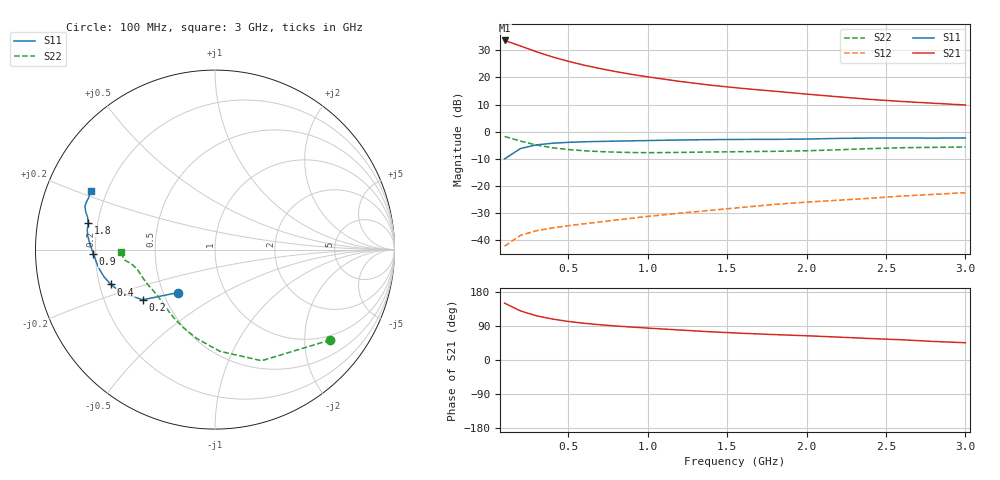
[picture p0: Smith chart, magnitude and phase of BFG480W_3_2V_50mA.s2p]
! Filename: 3_250BFG480.001
! Title: BFG480W
! Bias: Vce=3.2V; Ic=50mA
! Company: Philips Semiconductors NL
! User: Quality&Reliability T&D
! Measure time: 10 Nov 1999 / 11:56:58
#  MHz  S  MA  R 50
! Freq  S11  S21  S12  S22  :
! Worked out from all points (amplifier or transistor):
!   20 points, 100 MHz to 3 GHz, reference 50 ohm
!   highest |S21| = 33.6 dB at 100 MHz (marker M1)
!   |S21| within 3 dB of that: start of sweep to 245.4 MHz
!   unconditionally stable (mu >= 1): 956.3 MHz to end of sweep
!   at 400 MHz: K = 0.64, MSG = 31.5 dB, |S12| = -35.5 dB
!   at 1.2 GHz: K = 1.05, MAG = 22.9 dB, |S12| = -30.0 dB
!   at 3 GHz: K = 1.07, MAG = 14.6 dB, |S12| = -22.5 dB
!   S11 on the Smith chart (normalised r, x): 100 MHz: 0.60, -0.32; 200 MHz: 0.37, -0.27; 400 MHz: 0.25, -0.15; 900 MHz: 0.19, -0.02; 1.8 GHz: 0.16, +0.10; 3 GHz: 0.14, +0.22
100  0.3155 -130.7  47.83 149.9  0.00779 68.1  0.8162 -38.1
200  0.49 -145.2  37.83 129.5  0.01233 56.8  0.6714 -67.2
300  0.5709 -155.0  29.64 116.7  0.015 52.9  0.5671 -87.3
400  0.6122 -161.5  23.84 108.1  0.01685 52.7  0.5055 -101.6
500  0.6364 -166.2  19.78 101.8  0.01852 53.8  0.4685 -112.3
600  0.6513 -169.9  16.78 96.9  0.02012 55.5  0.4454 -120.5
700  0.6615 -172.9  14.54 93.0  0.02179 57.6  0.4299 -126.9
800  0.6695 -175.6  12.77 89.7  0.02358 59.6  0.4193 -132.2
900  0.6784 -177.9  11.36 86.9  0.02546 61.7  0.4131 -136.8
1000  0.6861 180.0  10.22 84.2  0.02748 63.3  0.4106 -140.9
1200  0.702 176.3  8.449 79.2  0.03147 65.9  0.4145 -147.7
1400  0.7142 173.7  7.161 74.4  0.03565 67.8  0.4229 -152.8
1600  0.7201 171.1  6.246 70.4  0.04045 69.5  0.4286 -156.7
1800  0.7212 168.3  5.555 67.0  0.04583 70.9  0.4348 -160.6
2000  0.7319 165.8  4.917 64.0  0.0504 72.0  0.4452 -165.2
2200  0.7515 163.5  4.39 60.4  0.05464 72.5  0.4637 -169.1
2400  0.7635 161.6  3.935 56.7  0.05936 72.4  0.4875 -171.7
2600  0.7642 159.9  3.599 53.4  0.06529 72.1  0.506 -173.4
2800  0.7612 157.6  3.338 48.9  0.06997 71.1  0.5148 -175.4
3000  0.7661 154.9  3.099 45.5  0.07525 70.5  0.5222 -178.4
